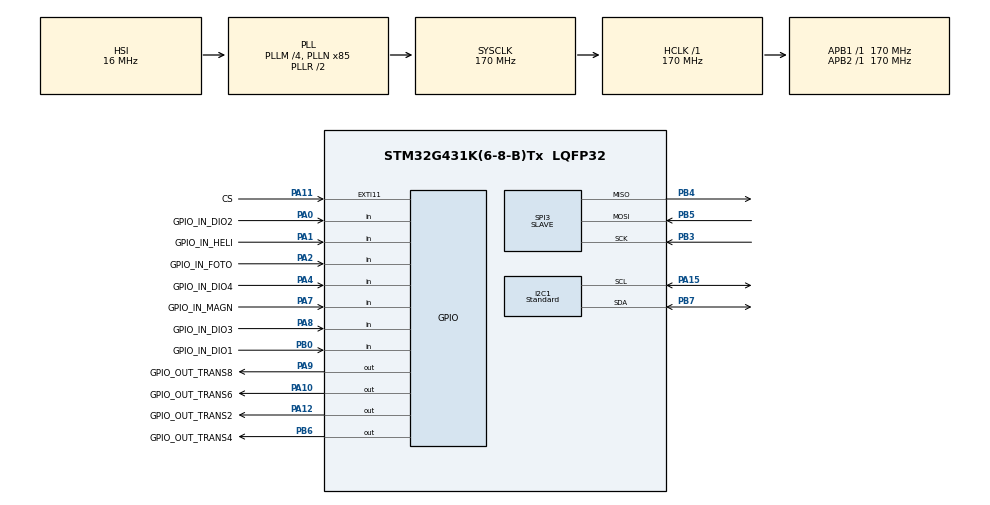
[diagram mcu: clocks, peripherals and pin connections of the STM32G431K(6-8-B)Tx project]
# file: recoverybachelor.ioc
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I2C1.I2C_Speed_Mode=I2C_Standard
I2C1.Timing=0x30A0A7FB
Mcu.Family=STM32G4
Mcu.Name=STM32G431K(6-8-B)Tx
Mcu.Package=LQFP32
NVIC.EXTI15_10_IRQn=true\:0\:0\:false\:false\:true\:true\:true\:true
NVIC.PriorityGroup=NVIC_PRIORITYGROUP_4
PA0.GPIO_Label=GPIO_IN_DIO2
PA0.Signal=GPIO_Input
PA1.GPIO_Label=GPIO_IN_HELI
PA1.Signal=GPIO_Input
PA10.GPIO_Label=GPIO_OUT_TRANS6
PA10.Signal=GPIO_Output
PA11.GPIO_Label=CS
PA11.GPIO_ModeDefaultEXTI=GPIO_MODE_IT_FALLING
PA11.Signal=GPXTI11
PA12.GPIO_Label=GPIO_OUT_TRANS2
PA12.Signal=GPIO_Output
PA13.GPIO_Label=T_SWDIO
PA13.Mode=Serial_Wire
PA13.Signal=SYS_JTMS-SWDIO
PA14.GPIO_Label=T_SWCLK
PA14.Mode=Serial_Wire
PA14.Signal=SYS_JTCK-SWCLK
PA15.Mode=I2C
PA15.Signal=I2C1_SCL
PA2.GPIO_Label=GPIO_IN_FOTO
PA2.Signal=GPIO_Input
PA4.GPIO_Label=GPIO_IN_DIO4
PA4.Signal=GPIO_Input
PA7.GPIO_Label=GPIO_IN_MAGN
PA7.Signal=GPIO_Input
PA8.GPIO_Label=GPIO_IN_DIO3
PA8.Signal=GPIO_Input
PA9.GPIO_Label=GPIO_OUT_TRANS8
PA9.Signal=GPIO_Output
PB0.GPIO_Label=GPIO_IN_DIO1
PB0.Signal=GPIO_Input
PB3.Mode=Full_Duplex_Slave
PB3.Signal=SPI3_SCK
PB4.Mode=Full_Duplex_Slave
PB4.Signal=SPI3_MISO
PB5.Mode=Full_Duplex_Slave
PB5.Signal=SPI3_MOSI
PB6.GPIO_Label=GPIO_OUT_TRANS4
PB6.Signal=GPIO_Output
PB7.Mode=I2C
PB7.Signal=I2C1_SDA
ProjectManager.HeapSize=0x200
ProjectManager.StackSize=0x400
ProjectManager.TargetToolchain=Makefile
RCC.ADC12Freq_Value=170000000
RCC.AHBFreq_Value=170000000
RCC.APB1Freq_Value=170000000
RCC.APB1TimFreq_Value=170000000
RCC.APB2Freq_Value=170000000
RCC.APB2TimFreq_Value=170000000
RCC.CortexFreq_Value=170000000
RCC.EXTERNAL_CLOCK_VALUE=12288000
RCC.HCLKFreq_Value=170000000
RCC.HSE_VALUE=8000000
RCC.HSI48_VALUE=48000000
RCC.HSI_VALUE=16000000
RCC.LSE_VALUE=32768
RCC.PLLM=RCC_PLLM_DIV4
RCC.PLLN=85
RCC.SYSCLKFreq_VALUE=170000000
RCC.SYSCLKSource=RCC_SYSCLKSOURCE_PLLCLK
RCC.USBFreq_Value=170000000
RCC.VCOOutputFreq_Value=340000000
SPI3.DataSize=SPI_DATASIZE_8BIT
SPI3.Direction=SPI_DIRECTION_2LINES
SPI3.Mode=SPI_MODE_SLAVE
SPI3.VirtualType=VM_SLAVE
board=NUCLEO-G431KB

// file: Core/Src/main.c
/* USER CODE BEGIN Header */
/**
  ******************************************************************************
  * @file           : main.c
  * @brief          : Main program body
  ******************************************************************************
  * @attention
  *
  * Copyright (c) 2024 STMicroelectronics.
  * All rights reserved.
  *
  * This software is licensed under terms that can be found in the LICENSE file
  * in the root directory of this software component.
  * If no LICENSE file comes with this software, it is provided AS-IS.
  *
  ******************************************************************************
  */
/* USER CODE END Header */
#include "main.h"
#include "i2c.h"
#include "spi.h"
#include "gpio.h"

/* USER CODE BEGIN Includes */
#include "ms5803.h"
#include "stdlib.h"
#include "stdio.h"
#include "string.h"
#include "stdint.h"
#include "spi_slave_module.h"
#include "stdbool.h"
/* USER CODE END Includes */

/* USER CODE BEGIN PV */
uint16_t MS5803_coefficient[6];
#define NUM_MEASUREMENTS 1200
volatile uint8_t tellerflagg = 0u;
volatile uint8_t rx_data[12];
uint8_t gps_data[12] = {PASSIVE, 0xd1, 0xd1, 0xd1, 0xd2, 0xd2, 0xd2, 0xd2, 0xd3, 0xd3, 0xd3, 0xd3};

/* USER CODE END PV */

void SystemClock_Config(void);

int main(void)
{

  /* MCU Configuration--------------------------------------------------------*/

  /* Reset of all peripherals, Initializes the Flash interface and the Systick. */
  HAL_Init();

  /* Configure the system clock */
  SystemClock_Config();

  /* Initialize all configured peripherals */
  MX_GPIO_Init();
  MX_I2C1_Init();
  MX_SPI3_Init();
  /* USER CODE BEGIN 2 */
  float pressureMeasurements[NUM_MEASUREMENTS]; // Array to store pressure measurements
  int measurementIndex = 0; // Index for the next measurement to be stored
  uint32_t lastMeasurementTime = 0; // Timestamp of the last measurement
  //HAL_GPIO_WritePin(GPIOA,GPIO_PIN_8,GPIO_PIN_SET);
  //while(1){
    //volatile GPIO_PinState proxvalue = HAL_GPIO_ReadPin(GPIOA,GPIO_PIN_7); // Måling av verdi fra magnetsensor

  //}
    //HAL_StatusTypeDef test = MS5803_reset(&hi2c1); //reset
    //uint8_t gps_address = (0x42 << 1);
    //HAL_StatusTypeDef test_device = HAL_I2C_IsDeviceReady(&hi2c1, gps_address, 10, 1000);
  //   uint8_t dev_address = (0x76 << 1);
  //   HAL_StatusTypeDef test_device = HAL_I2C_IsDeviceReady(&hi2c1, dev_address, 10, 1000);
  // while(test_device == HAL_ERROR) {
	//   // if the test fails
  // }
  // for(int i = 1; i <= 6; i++) {
	//       MS5803_coeff(&hi2c1, &MS5803_coefficient[i-1], i); //get coefficients
  //       }

  /* USER CODE END 2 */

  /* Infinite loop */
  /* USER CODE BEGIN WHILE */
    // char print[32];
    //float temperature = 0.0f;
    //float pressure = 0.0f;
    // float temperature, pressure;
    // memset(pressureMeasurements, 0, sizeof(pressureMeasurements));
  // while (1)
  // {
  //   MS5803_get_values(&hi2c1, ADC_256, &temperature, &pressure);
  //   HAL_Delay(10);

    /* USER CODE END WHILE */

    /* USER CODE BEGIN 3 */
  // }
  while (1)
  {
    gps_data[0] = PASSIVE;
    gps_data[1] = 0xd1;
    gps_data[2] = 0xd1;
    gps_data[3] = 0xd1;
    gps_data[4] = 0xd2;
    gps_data[5] = 0xd2;
    gps_data[6] = 0xd2;
    gps_data[7] = 0xd2;
    gps_data[8] = 0xd3;
    gps_data[9] = 0xd3;
    gps_data[10] = 0xd3;
    gps_data[11] = 0xd3;

  // volatile GPIO_PinState dio1_em1 = HAL_GPIO_ReadPin(GPIO_IN_DIO1_GPIO_Port,GPIO_IN_DIO1_Pin); // Måling av verdi fra d1
  // volatile GPIO_PinState dio2_em2 = HAL_GPIO_ReadPin(GPIO_IN_DIO2_GPIO_Port,GPIO_IN_DIO2_Pin); // Måling av verdi fra d2
  // volatile GPIO_PinState dio3_td1 = HAL_GPIO_ReadPin(GPIO_IN_DIO3_GPIO_Port,GPIO_IN_DIO3_Pin); // Måling av verdi fra d3
  // volatile GPIO_PinState dio4_td2 = HAL_GPIO_ReadPin(GPIO_IN_DIO4_GPIO_Port,GPIO_IN_DIO4_Pin); // Måling av verdi fra d4
  // volatile GPIO_PinState foto = HAL_GPIO_ReadPin(GPIO_IN_FOTO_GPIO_Port,GPIO_IN_FOTO_Pin); // Måling av verdi fra fototransistor
  // volatile GPIO_PinState magn = HAL_GPIO_ReadPin(GPIO_IN_MAGN_GPIO_Port,GPIO_IN_MAGN_Pin); // Måling av verdi fra magnetbryter

  // volatile GPIO_PinState heli = HAL_GPIO_ReadPin(GPIO_IN_HELI_GPIO_Port,GPIO_IN_HELI_Pin); // avlesning av Miso(PB4) pin og setting av trans 4
  //   if (magn == GPIO_PIN_SET && foto == GPIO_PIN_RESET && heli == GPIO_PIN_RESET){
  //     HAL_GPIO_WritePin(GPIO_OUT_TRANS2_GPIO_Port,GPIO_OUT_TRANS2_Pin,GPIO_PIN_SET);
  //   }else{
  //     HAL_GPIO_WritePin(GPIO_OUT_TRANS2_GPIO_Port,GPIO_OUT_TRANS2_Pin,GPIO_PIN_RESET);
  //   }
  //   if (magn == GPIO_PIN_RESET && foto == GPIO_PIN_SET && heli == GPIO_PIN_SET){
  //     //tellerflagg = 1;
  //     HAL_GPIO_WritePin(GPIO_OUT_TRANS8_GPIO_Port,GPIO_OUT_TRANS8_Pin,GPIO_PIN_SET);
  //   }else {
  //     HAL_GPIO_WritePin(GPIO_OUT_TRANS8_GPIO_Port,GPIO_OUT_TRANS8_Pin,GPIO_PIN_RESET);
  //   }
  // MS5803_get_values(&hi2c1, ADC_4096, &temperature, &pressure);
  //     if (measurementIndex < NUM_MEASUREMENTS) {
  //       pressureMeasurements[measurementIndex] = pressure; // Store the pressure measurement
  //       measurementIndex++; // Move to the next index for the next measurement
  //     } else {
  //       measurementIndex = 0; // Uncomment this line to start measurements over

  //     }
  //     lastMeasurementTime = HAL_GetTick(); // Update the timestamp of the last measurement
  //   }

    // Other tasks can be done here
  }
  /* USER CODE END 3 */
}

void SystemClock_Config(void)
{
  RCC_OscInitTypeDef RCC_OscInitStruct = {0};
  RCC_ClkInitTypeDef RCC_ClkInitStruct = {0};

  /** Configure the main internal regulator output voltage
  */
  HAL_PWREx_ControlVoltageScaling(PWR_REGULATOR_VOLTAGE_SCALE1_BOOST);

  /** Initializes the RCC Oscillators according to the specified parameters
  * in the RCC_OscInitTypeDef structure.
  */
  RCC_OscInitStruct.OscillatorType = RCC_OSCILLATORTYPE_HSI;
  RCC_OscInitStruct.HSIState = RCC_HSI_ON;
  RCC_OscInitStruct.HSICalibrationValue = RCC_HSICALIBRATION_DEFAULT;
  RCC_OscInitStruct.PLL.PLLState = RCC_PLL_ON;
  RCC_OscInitStruct.PLL.PLLSource = RCC_PLLSOURCE_HSI;
  RCC_OscInitStruct.PLL.PLLM = RCC_PLLM_DIV4;
  RCC_OscInitStruct.PLL.PLLN = 85;
  RCC_OscInitStruct.PLL.PLLP = RCC_PLLP_DIV2;
  RCC_OscInitStruct.PLL.PLLQ = RCC_PLLQ_DIV2;
  RCC_OscInitStruct.PLL.PLLR = RCC_PLLR_DIV2;
  if (HAL_RCC_OscConfig(&RCC_OscInitStruct) != HAL_OK)
  {
    Error_Handler();
  }

  /** Initializes the CPU, AHB and APB buses clocks
  */
  RCC_ClkInitStruct.ClockType = RCC_CLOCKTYPE_HCLK|RCC_CLOCKTYPE_SYSCLK
                              |RCC_CLOCKTYPE_PCLK1|RCC_CLOCKTYPE_PCLK2;
  RCC_ClkInitStruct.SYSCLKSource = RCC_SYSCLKSOURCE_PLLCLK;
  RCC_ClkInitStruct.AHBCLKDivider = RCC_SYSCLK_DIV1;
  RCC_ClkInitStruct.APB1CLKDivider = RCC_HCLK_DIV1;
  RCC_ClkInitStruct.APB2CLKDivider = RCC_HCLK_DIV1;

  if (HAL_RCC_ClockConfig(&RCC_ClkInitStruct, FLASH_LATENCY_4) != HAL_OK)
  {
    Error_Handler();
  }
}

/* USER CODE BEGIN 4 */

void SPI_WAIT_NOT_BUSY(SPI_TypeDef *SPIx)
{
    while ((SPIx->SR & SPI_SR_BSY));
}

void SPI_WAIT_TXE(SPI_TypeDef *SPIx)
{
    while (!(SPIx->SR & SPI_SR_TXE));
}
uint8_t SPI_READ_DR(SPI_TypeDef *SPIx)
{
    return (uint8_t)(SPIx->DR);
}
void SPI_CLEAR_DR(SPI_TypeDef *SPIx)
{
    (void)(SPIx->DR);
}
void SPI_WAIT_RXNE(SPI_TypeDef *SPIx)
{
    while (!(SPIx->SR & SPI_SR_RXNE));
}
void SPI_WRITE_DR(SPI_TypeDef *SPIx, uint8_t DATA)
{
   * ((volatile uint8_t *)&(SPIx->DR)) = DATA;
}
void enable_spi(SPI_TypeDef *SPIx)
{
    SPIx->CR1 |= SPI_CR1_SPE; // enabling SPI
}

void disable_spi(SPI_TypeDef *SPIx)
{
    SPIx->CR1 &= ~SPI_CR1_SPE; // disable SPI
}
HAL_StatusTypeDef SPI_Transmit(SPI_TypeDef *SPIx, uint8_t *ptr_SendData, uint16_t Size)
{
    enable_spi(SPIx);
    // Add your own logic for asserting CS here

    for (size_t i = 0; i < Size; i++)
    {
        SPI_WAIT_TXE(SPIx); // waiting until transmit buffer is empty
        SPI_WRITE_DR(SPIx, ptr_SendData[i]); // data register is receiving the commands from the array[i]
        SPI_WAIT_RXNE(SPIx); // polling data on Receive buffer not empty(RXNE) so we know the data has been received
        // if (!spi_wait_rxne_timeout(SPIx, 10))
        // {
        //     return HAL_TIMEOUT;
        // }
        // reading the received data from SPI data register so the RXNE flag gets cleared. This is used for full-duplex transmit. The reason I dont have it as a parameter because most of the data will be garbage. Its just used to clear the buffer.
        SPI_CLEAR_DR(SPIx); // casting to void so I can ignore compiler warning on unused variables
    }
    SPI_WAIT_NOT_BUSY(SPIx); // checking when SPI is ready.
    // add your own logic for deasserting CS here
    disable_spi(SPIx);
    return HAL_OK;
}

HAL_StatusTypeDef SPI_Receive(SPI_TypeDef *SPIx, uint8_t *ptr_ReceiveData, uint16_t Size)
{
    enable_spi(SPIx);
    // Add your own logic for asserting CS here
    for (size_t i = 0; i < Size; i++)
    {
        // SPI_WAIT_NOT_BUSY(SPIx); // checking when SPI is ready.
        SPI_WAIT_TXE(SPIx);
        SPI_WRITE_DR(SPIx, 0xFF); // clocking out dummy bytes
        // if (!spi_wait_rxne_timeout(SPIx, 10))
        // {
        //     return HAL_TIMEOUT;
        // }
        SPI_WAIT_RXNE(SPIx);
        ptr_ReceiveData[i] = SPI_READ_DR(SPIx);
    }
    SPI_WAIT_NOT_BUSY(SPIx);
    return HAL_OK;
}

HAL_StatusTypeDef SPI_TransmitReceive(SPI_TypeDef *SPIx, uint8_t *ptr_SendData, uint8_t *ptr_ReceiveData, uint16_t Size)
{
    enable_spi(SPIx);
    // Add your own logic for asserting CS here

    for (size_t i = 0; i < Size; i++)
    {
        SPI_WAIT_TXE(SPIx); // Wait until transmit buffer is empty
        SPI_WRITE_DR(SPIx, ptr_SendData[i]); // Send data
        SPI_WAIT_RXNE(SPIx); // Wait for the data to be received
        // Wait for the data to be received
        // if (!spi_wait_rxne_timeout(SPIx, 10))
        // {
        //     // Optionally, deassert CS here
        //     disable_spi(SPIx);
        //     return HAL_TIMEOUT;
        // }

        // Read the received data
        ptr_ReceiveData[i] = SPI_READ_DR(SPIx);
    }

    // Wait until SPI is not busy to ensure all data has been exchanged
    SPI_WAIT_NOT_BUSY(SPIx);

    // Optionally, deassert CS here
    disable_spi(SPIx);
    return HAL_OK;
}

/* USER CODE END 4 */

void Error_Handler(void)
{
  __disable_irq();
  while (1)
  {
  }
}
